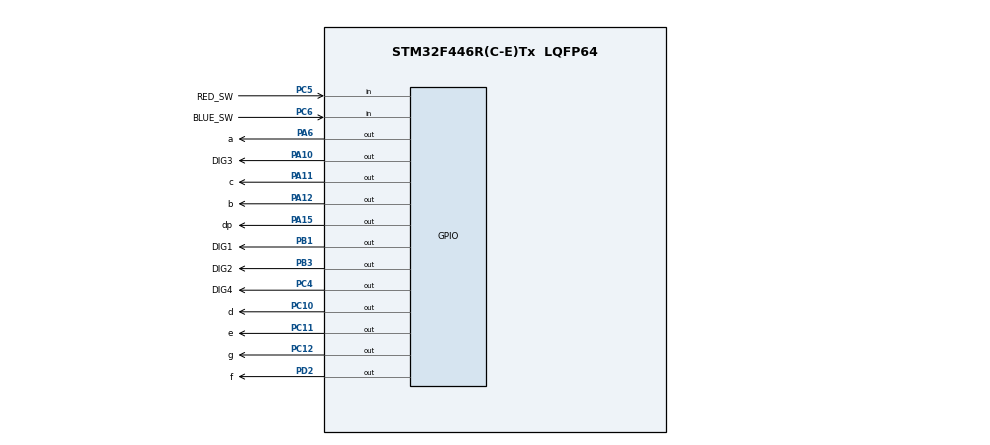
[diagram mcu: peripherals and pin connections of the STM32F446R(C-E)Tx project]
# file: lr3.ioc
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Mcu.Family=STM32F4
RCC.CortexFreq_Value=16000000
PC10.GPIO_Label=d
PC10.Signal=GPIO_Output
PC11.Signal=GPIO_Output
PC12.Signal=GPIO_Output
PC4.Signal=GPIO_Output
PC6.Signal=GPIO_Input
PC6.GPIO_Label=BLUE_SW
PA11.GPIO_Label=c
PA6.GPIO_Label=a
PA12.GPIO_Label=b
ProjectManager.StackSize=0x400
PA15.GPIO_Label=dp
PA12.Signal=GPIO_Output
ProjectManager.TargetToolchain=STM32CubeIDE
RCC.USBFreq_Value=96000000
board=custom
RCC.VCOOutputFreq_Value=192000000
PC4.GPIO_Label=DIG4
PB1.GPIO_Label=DIG1
PC11.GPIO_Label=e
PA10.GPIO_Label=DIG3
Mcu.Name=STM32F446R(C-E)Tx
PB3.Signal=GPIO_Output
Mcu.Package=LQFP64
PA6.Signal=GPIO_Output
PB1.Signal=GPIO_Output
PC5.GPIO_Label=RED_SW
PC12.GPIO_Label=g
PA11.Signal=GPIO_Output
PA10.Signal=GPIO_Output
PA15.Signal=GPIO_Output
ProjectManager.HeapSize=0x200
NVIC.PriorityGroup=NVIC_PRIORITYGROUP_4
PC5.Signal=GPIO_Input
PD2.Signal=GPIO_Output
PD2.GPIO_Label=f
PB3.GPIO_Label=DIG2

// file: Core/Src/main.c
/* USER CODE BEGIN Header */
/**
  ******************************************************************************
  * @file           : main.c
  * @brief          : Main program body
  ******************************************************************************
  * @attention
  *
  * <h2><center>&copy; Copyright (c) 2023 STMicroelectronics.
  * All rights reserved.</center></h2>
  *
  * This software component is licensed by ST under BSD 3-Clause license,
  * the "License"; You may not use this file except in compliance with the
  * License. You may obtain a copy of the License at:
  *                        opensource.org/licenses/BSD-3-Clause
  *
  ******************************************************************************
  */
/* USER CODE END Header */
#include "main.h"

void SystemClock_Config(void);
static void MX_GPIO_Init(void);
/* USER CODE BEGIN PFP */

void setnumber (int number)
{
	switch (number)
	{
		case 0:
			{
				HAL_GPIO_WritePin(GPIOA, a_Pin, GPIO_PIN_RESET); //A
				HAL_GPIO_WritePin(GPIOA, b_Pin, GPIO_PIN_RESET); //B
				HAL_GPIO_WritePin(GPIOA, c_Pin, GPIO_PIN_RESET); //C
				HAL_GPIO_WritePin(GPIOC, d_Pin, GPIO_PIN_RESET); //D
				HAL_GPIO_WritePin(GPIOC, e_Pin, GPIO_PIN_RESET); //E
				HAL_GPIO_WritePin(GPIOD, f_Pin, GPIO_PIN_RESET);	//F
				HAL_GPIO_WritePin(GPIOC, g_Pin, GPIO_PIN_SET);  //G
				HAL_GPIO_WritePin(GPIOA, dp_Pin, GPIO_PIN_SET);  //dp

				break;
			}

		case 1:
			{
				HAL_GPIO_WritePin(GPIOA, a_Pin, GPIO_PIN_SET); //A
				HAL_GPIO_WritePin(GPIOA, b_Pin, GPIO_PIN_RESET); //B
				HAL_GPIO_WritePin(GPIOA, c_Pin, GPIO_PIN_RESET); //C
				HAL_GPIO_WritePin(GPIOC, d_Pin, GPIO_PIN_SET); //D
				HAL_GPIO_WritePin(GPIOC, e_Pin, GPIO_PIN_SET); //E
				HAL_GPIO_WritePin(GPIOD, f_Pin, GPIO_PIN_SET);	//F
				HAL_GPIO_WritePin(GPIOC, g_Pin, GPIO_PIN_SET);  //G
				HAL_GPIO_WritePin(GPIOA, dp_Pin, GPIO_PIN_SET);  //dp

				break;
			}

		case 2:
			{
				HAL_GPIO_WritePin(GPIOA, a_Pin, GPIO_PIN_RESET); //A
				HAL_GPIO_WritePin(GPIOA, b_Pin, GPIO_PIN_RESET); //B
				HAL_GPIO_WritePin(GPIOA, c_Pin, GPIO_PIN_SET); //C
				HAL_GPIO_WritePin(GPIOC, d_Pin, GPIO_PIN_RESET); //D
				HAL_GPIO_WritePin(GPIOC, e_Pin, GPIO_PIN_RESET); //E
				HAL_GPIO_WritePin(GPIOD, f_Pin, GPIO_PIN_SET);	//F
				HAL_GPIO_WritePin(GPIOC, g_Pin, GPIO_PIN_RESET);  //G
				HAL_GPIO_WritePin(GPIOA, dp_Pin, GPIO_PIN_SET);  //dp

				break;
			}

		case 3:
			{
				HAL_GPIO_WritePin(GPIOA, a_Pin, GPIO_PIN_RESET); //A
				HAL_GPIO_WritePin(GPIOA, b_Pin, GPIO_PIN_RESET); //B
				HAL_GPIO_WritePin(GPIOA, c_Pin, GPIO_PIN_RESET); //C
				HAL_GPIO_WritePin(GPIOC, d_Pin, GPIO_PIN_RESET); //D
				HAL_GPIO_WritePin(GPIOC, e_Pin, GPIO_PIN_SET); //E
				HAL_GPIO_WritePin(GPIOD, f_Pin, GPIO_PIN_SET);	//F
				HAL_GPIO_WritePin(GPIOC, g_Pin, GPIO_PIN_RESET);  //G

				HAL_GPIO_WritePin(GPIOA, dp_Pin, GPIO_PIN_SET);  //dp

				break;
			}

		case 4:
			{
				HAL_GPIO_WritePin(GPIOA, a_Pin, GPIO_PIN_SET); //A
				HAL_GPIO_WritePin(GPIOA, b_Pin, GPIO_PIN_RESET); //B
				HAL_GPIO_WritePin(GPIOA, c_Pin, GPIO_PIN_RESET); //C
				HAL_GPIO_WritePin(GPIOC, d_Pin, GPIO_PIN_SET); //D
				HAL_GPIO_WritePin(GPIOC, e_Pin, GPIO_PIN_SET); //E
				HAL_GPIO_WritePin(GPIOD, f_Pin, GPIO_PIN_RESET);	//F
				HAL_GPIO_WritePin(GPIOC, g_Pin, GPIO_PIN_RESET);  //G
				HAL_GPIO_WritePin(GPIOA, dp_Pin, GPIO_PIN_SET);  //dp

				break;
			}

		case 5:
			{
				HAL_GPIO_WritePin(GPIOA, a_Pin, GPIO_PIN_RESET); //A
				HAL_GPIO_WritePin(GPIOA, b_Pin, GPIO_PIN_SET); //B
				HAL_GPIO_WritePin(GPIOA, c_Pin, GPIO_PIN_RESET); //C
				HAL_GPIO_WritePin(GPIOC, d_Pin, GPIO_PIN_RESET); //D
				HAL_GPIO_WritePin(GPIOC, e_Pin, GPIO_PIN_SET); //E
				HAL_GPIO_WritePin(GPIOD, f_Pin, GPIO_PIN_RESET);	//F
				HAL_GPIO_WritePin(GPIOC, g_Pin, GPIO_PIN_RESET);  //G
				HAL_GPIO_WritePin(GPIOA, dp_Pin, GPIO_PIN_SET);  //dp

				break;
			}

		case 6:
			{
				HAL_GPIO_WritePin(GPIOA, a_Pin, GPIO_PIN_RESET); //A
				HAL_GPIO_WritePin(GPIOA, b_Pin, GPIO_PIN_SET); //B
				HAL_GPIO_WritePin(GPIOA, c_Pin, GPIO_PIN_RESET); //C
				HAL_GPIO_WritePin(GPIOC, d_Pin, GPIO_PIN_RESET); //D
				HAL_GPIO_WritePin(GPIOC, e_Pin, GPIO_PIN_RESET); //E
				HAL_GPIO_WritePin(GPIOD, f_Pin, GPIO_PIN_RESET);	//F
				HAL_GPIO_WritePin(GPIOC, g_Pin, GPIO_PIN_RESET);  //G
				HAL_GPIO_WritePin(GPIOA, dp_Pin, GPIO_PIN_SET);  //dp

				break;
			}

		case 7:
			{
				HAL_GPIO_WritePin(GPIOA, a_Pin, GPIO_PIN_RESET); //A
				HAL_GPIO_WritePin(GPIOA, b_Pin, GPIO_PIN_RESET); //B
				HAL_GPIO_WritePin(GPIOA, c_Pin, GPIO_PIN_RESET); //C
				HAL_GPIO_WritePin(GPIOC, d_Pin, GPIO_PIN_SET); //D
				HAL_GPIO_WritePin(GPIOC, e_Pin, GPIO_PIN_SET); //E
				HAL_GPIO_WritePin(GPIOD, f_Pin, GPIO_PIN_SET);	//F
				HAL_GPIO_WritePin(GPIOC, g_Pin, GPIO_PIN_SET);  //G
				HAL_GPIO_WritePin(GPIOA, dp_Pin, GPIO_PIN_SET);  //dp

				break;
			}

		case 8:
			{
				HAL_GPIO_WritePin(GPIOA, a_Pin, GPIO_PIN_RESET); //A
				HAL_GPIO_WritePin(GPIOA, b_Pin, GPIO_PIN_RESET); //B
				HAL_GPIO_WritePin(GPIOA, c_Pin, GPIO_PIN_RESET); //C
				HAL_GPIO_WritePin(GPIOC, d_Pin, GPIO_PIN_RESET); //D
				HAL_GPIO_WritePin(GPIOC, e_Pin, GPIO_PIN_RESET); //E
				HAL_GPIO_WritePin(GPIOD, f_Pin, GPIO_PIN_RESET);	//F
				HAL_GPIO_WritePin(GPIOC, g_Pin, GPIO_PIN_RESET);  //G
				HAL_GPIO_WritePin(GPIOA, dp_Pin, GPIO_PIN_SET);  //dp

				break;
			}

		case 9:
			{
				HAL_GPIO_WritePin(GPIOA, a_Pin, GPIO_PIN_RESET); //A
				HAL_GPIO_WritePin(GPIOA, b_Pin, GPIO_PIN_RESET); //B
				HAL_GPIO_WritePin(GPIOA, c_Pin, GPIO_PIN_RESET); //C
				HAL_GPIO_WritePin(GPIOC, d_Pin, GPIO_PIN_RESET); //D
				HAL_GPIO_WritePin(GPIOC, e_Pin, GPIO_PIN_SET); //E
				HAL_GPIO_WritePin(GPIOD, f_Pin, GPIO_PIN_RESET);	//F
				HAL_GPIO_WritePin(GPIOC, g_Pin, GPIO_PIN_RESET);  //G
				HAL_GPIO_WritePin(GPIOA, dp_Pin, GPIO_PIN_SET);  //dp

				break;
			}
	}
}

void display_number (int count){

		HAL_GPIO_WritePin(GPIOB, DIG1_Pin, GPIO_PIN_SET);
		HAL_GPIO_WritePin(GPIOB, DIG2_Pin, GPIO_PIN_SET);
		HAL_GPIO_WritePin(GPIOA, DIG3_Pin, GPIO_PIN_SET);
		HAL_GPIO_WritePin(GPIOC, DIG4_Pin, GPIO_PIN_RESET);
		setnumber(count % 10);
		HAL_Delay(1);

		HAL_GPIO_WritePin(GPIOB, DIG1_Pin, GPIO_PIN_SET);
		HAL_GPIO_WritePin(GPIOB, DIG2_Pin, GPIO_PIN_SET);
		HAL_GPIO_WritePin(GPIOA, DIG3_Pin, GPIO_PIN_RESET);
		HAL_GPIO_WritePin(GPIOC, DIG4_Pin, GPIO_PIN_SET);
		setnumber(count / 10 % 10);
		HAL_Delay(1);

		HAL_GPIO_WritePin(GPIOB, DIG1_Pin, GPIO_PIN_SET);
		HAL_GPIO_WritePin(GPIOB, DIG2_Pin, GPIO_PIN_RESET);
		HAL_GPIO_WritePin(GPIOA, DIG3_Pin, GPIO_PIN_SET);
		HAL_GPIO_WritePin(GPIOC, DIG4_Pin, GPIO_PIN_SET);
		setnumber(count / 100 % 10);
		HAL_Delay(1);

		HAL_GPIO_WritePin(GPIOB, DIG1_Pin, GPIO_PIN_RESET);
		HAL_GPIO_WritePin(GPIOB, DIG2_Pin, GPIO_PIN_SET);
		HAL_GPIO_WritePin(GPIOA, DIG3_Pin, GPIO_PIN_SET);
		HAL_GPIO_WritePin(GPIOC, DIG4_Pin, GPIO_PIN_SET);
		setnumber(count / 1000 % 10);
		HAL_Delay(1);

}

int16_t check_range(int16_t n)
{
	if (n < 0) {
		return 0;
	}
	else if (n > 9999) {
		return 9999;
	}
	return n;
}

/* USER CODE END PFP */

int main(void)
{

  /* MCU Configuration--------------------------------------------------------*/

  /* Reset of all peripherals, Initializes the Flash interface and the Systick. */
  HAL_Init();

  /* Configure the system clock */
  SystemClock_Config();

  /* Initialize all configured peripherals */
  MX_GPIO_Init();
  /* USER CODE BEGIN 2 */
  int16_t n = 3;
  /* USER CODE END 2 */

  /* Infinite loop */
  while (1)
  {
		if (!HAL_GPIO_ReadPin(GPIOC, RED_SW_Pin))
		{
			n = check_range(n+1);
			while (!HAL_GPIO_ReadPin(GPIOC, RED_SW_Pin))
			{
				display_number(n);
			}
		}
		else if (!HAL_GPIO_ReadPin(GPIOC, BLUE_SW_Pin))
		{
			n = check_range(n-1);
			while (!HAL_GPIO_ReadPin(GPIOC, BLUE_SW_Pin))
			{
				display_number(n);
			}
		}
		display_number(n);
  }
}

void SystemClock_Config(void)
{
  RCC_OscInitTypeDef RCC_OscInitStruct = {0};
  RCC_ClkInitTypeDef RCC_ClkInitStruct = {0};

  /** Configure the main internal regulator output voltage
  */
  __HAL_RCC_PWR_CLK_ENABLE();
  __HAL_PWR_VOLTAGESCALING_CONFIG(PWR_REGULATOR_VOLTAGE_SCALE3);
  /** Initializes the RCC Oscillators according to the specified parameters
  * in the RCC_OscInitTypeDef structure.
  */
  RCC_OscInitStruct.OscillatorType = RCC_OSCILLATORTYPE_HSI;
  RCC_OscInitStruct.HSIState = RCC_HSI_ON;
  RCC_OscInitStruct.HSICalibrationValue = RCC_HSICALIBRATION_DEFAULT;
  RCC_OscInitStruct.PLL.PLLState = RCC_PLL_NONE;
  if (HAL_RCC_OscConfig(&RCC_OscInitStruct) != HAL_OK)
  {
    Error_Handler();
  }
  /** Initializes the CPU, AHB and APB buses clocks
  */
  RCC_ClkInitStruct.ClockType = RCC_CLOCKTYPE_HCLK|RCC_CLOCKTYPE_SYSCLK
                              |RCC_CLOCKTYPE_PCLK1|RCC_CLOCKTYPE_PCLK2;
  RCC_ClkInitStruct.SYSCLKSource = RCC_SYSCLKSOURCE_HSI;
  RCC_ClkInitStruct.AHBCLKDivider = RCC_SYSCLK_DIV1;
  RCC_ClkInitStruct.APB1CLKDivider = RCC_HCLK_DIV1;
  RCC_ClkInitStruct.APB2CLKDivider = RCC_HCLK_DIV1;

  if (HAL_RCC_ClockConfig(&RCC_ClkInitStruct, FLASH_LATENCY_0) != HAL_OK)
  {
    Error_Handler();
  }
}

static void MX_GPIO_Init(void)
{
  GPIO_InitTypeDef GPIO_InitStruct = {0};

  /* GPIO Ports Clock Enable */
  __HAL_RCC_GPIOA_CLK_ENABLE();
  __HAL_RCC_GPIOC_CLK_ENABLE();
  __HAL_RCC_GPIOB_CLK_ENABLE();
  __HAL_RCC_GPIOD_CLK_ENABLE();

  /*Configure GPIO pin Output Level */
  HAL_GPIO_WritePin(GPIOA, a_Pin|DIG3_Pin|c_Pin|b_Pin
                          |dp_Pin, GPIO_PIN_RESET);

  /*Configure GPIO pin Output Level */
  HAL_GPIO_WritePin(GPIOC, DIG4_Pin|d_Pin|e_Pin|g_Pin, GPIO_PIN_RESET);

  /*Configure GPIO pin Output Level */
  HAL_GPIO_WritePin(GPIOB, DIG1_Pin|DIG2_Pin, GPIO_PIN_RESET);

  /*Configure GPIO pin Output Level */
  HAL_GPIO_WritePin(f_GPIO_Port, f_Pin, GPIO_PIN_RESET);

  /*Configure GPIO pins : a_Pin DIG3_Pin c_Pin b_Pin
                           dp_Pin */
  GPIO_InitStruct.Pin = a_Pin|DIG3_Pin|c_Pin|b_Pin
                          |dp_Pin;
  GPIO_InitStruct.Mode = GPIO_MODE_OUTPUT_PP;
  GPIO_InitStruct.Pull = GPIO_NOPULL;
  GPIO_InitStruct.Speed = GPIO_SPEED_FREQ_LOW;
  HAL_GPIO_Init(GPIOA, &GPIO_InitStruct);

  /*Configure GPIO pins : DIG4_Pin d_Pin e_Pin g_Pin */
  GPIO_InitStruct.Pin = DIG4_Pin|d_Pin|e_Pin|g_Pin;
  GPIO_InitStruct.Mode = GPIO_MODE_OUTPUT_PP;
  GPIO_InitStruct.Pull = GPIO_NOPULL;
  GPIO_InitStruct.Speed = GPIO_SPEED_FREQ_LOW;
  HAL_GPIO_Init(GPIOC, &GPIO_InitStruct);

  /*Configure GPIO pins : RED_SW_Pin BLUE_SW_Pin */
  GPIO_InitStruct.Pin = RED_SW_Pin|BLUE_SW_Pin;
  GPIO_InitStruct.Mode = GPIO_MODE_INPUT;
  GPIO_InitStruct.Pull = GPIO_NOPULL;
  HAL_GPIO_Init(GPIOC, &GPIO_InitStruct);

  /*Configure GPIO pins : DIG1_Pin DIG2_Pin */
  GPIO_InitStruct.Pin = DIG1_Pin|DIG2_Pin;
  GPIO_InitStruct.Mode = GPIO_MODE_OUTPUT_PP;
  GPIO_InitStruct.Pull = GPIO_NOPULL;
  GPIO_InitStruct.Speed = GPIO_SPEED_FREQ_LOW;
  HAL_GPIO_Init(GPIOB, &GPIO_InitStruct);

  /*Configure GPIO pin : f_Pin */
  GPIO_InitStruct.Pin = f_Pin;
  GPIO_InitStruct.Mode = GPIO_MODE_OUTPUT_PP;
  GPIO_InitStruct.Pull = GPIO_NOPULL;
  GPIO_InitStruct.Speed = GPIO_SPEED_FREQ_LOW;
  HAL_GPIO_Init(f_GPIO_Port, &GPIO_InitStruct);

}

void Error_Handler(void)
{
  __disable_irq();
  while (1)
  {
  }
}

/************************ (C) COPYRIGHT STMicroelectronics *****END OF FILE****/
